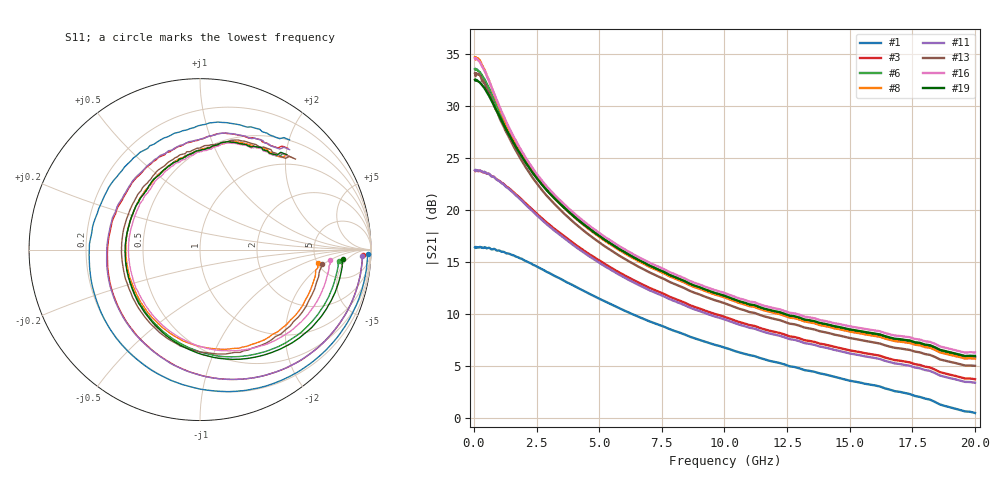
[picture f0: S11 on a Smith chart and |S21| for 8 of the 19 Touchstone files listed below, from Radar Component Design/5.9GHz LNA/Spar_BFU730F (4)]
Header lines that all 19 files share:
! Device data file deembeded for feedlines and parallel
! Feed-files: PR003V01_101208_Feed1.s2p, PR003V01_101208_Feed2.s2p
! Parallel-file: PR003V01_101208_Par.s2p
# MHz S MA R 50
!  Freq-MHz  S11-mag  S11-arg  S21-mag  S21-arg  S12-mag  S12-arg  S22-mag  S22-arg
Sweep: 40 MHz to 20 GHz
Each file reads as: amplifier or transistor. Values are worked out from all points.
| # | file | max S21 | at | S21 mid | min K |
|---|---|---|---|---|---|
| 1 | BFU730F_1p5V_2mA.s2p | 16.5 dB | 240 MHz | 12.4 dB at 4.2 GHz | -0.01 |
| 2 | BFU730F_1p5V_3.5mA.s2p | 21.0 dB | 50 MHz | 15.1 dB at 4.2 GHz | 0.00 |
| 3 | BFU730F_1p5V_5mA.s2p | 23.8 dB | 50 MHz | 16.4 dB at 4.2 GHz | -0.06 |
| 4 | BFU730F_1p5V_7p5mA.s2p | 26.9 dB | 50 MHz | 17.5 dB at 4.2 GHz | -0.01 |
| 5 | BFU730F_1p5V_15mA.s2p | 31.8 dB | 50 MHz | 18.7 dB at 4.2 GHz | -0.11 |
| 6 | BFU730F_1p5V_20mA.s2p | 33.6 dB | 50 MHz | 19.0 dB at 4.2 GHz | -0.02 |
| 7 | BFU730F_1p5V_25mA.s2p | 34.5 dB | 50 MHz | 19.0 dB at 4.2 GHz | -0.06 |
| 8 | BFU730F_1p5V_30mA.s2p | 34.7 dB | 50 MHz | 18.9 dB at 4.2 GHz | 0.06 |
| 9 | BFU730F_1V_1mA.s2p | 10.5 dB | 240 MHz | 7.9 dB at 4.2 GHz | -0.12 |
| 10 | BFU730F_1V_3p5mA.s2p | 21.0 dB | 50 MHz | 14.9 dB at 4.2 GHz | -0.01 |
| 11 | BFU730F_1V_5mA.s2p | 23.9 dB | 50 MHz | 16.2 dB at 4.2 GHz | 0.00 |
| 12 | BFU730F_1V_7p5mA.s2p | 27.0 dB | 50 MHz | 17.3 dB at 4.2 GHz | 0.01 |
| 13 | BFU730F_1V_25mA.s2p | 33.1 dB | 40 MHz | 18.4 dB at 4.2 GHz | 0.09 |
| 14 | BFU730F_1V_30mA.s2p | 32.8 dB | 40 MHz | 16.7 dB at 4.2 GHz | 0.28 |
| 15 | BFU730F_2p5V_2mA.s2p | 16.4 dB | 240 MHz | 12.6 dB at 4.2 GHz | 0.01 |
| 16 | BFU730F_2p5V_25mA.s2p | 34.6 dB | 50 MHz | 19.3 dB at 4.2 GHz | 0.07 |
| 17 | BFU730F_2V_1mA_S_N.s2p | 10.6 dB | 240 MHz | 8.1 dB at 4.2 GHz | -0.15 |
| 18 | BFU730F_2V_5mA_S_N.s2p | 23.7 dB | 50 MHz | 16.5 dB at 4.2 GHz | -0.01 |
| 19 | BFU730F_2V_17mA_S_N.s2p | 32.5 dB | 50 MHz | 19.0 dB at 4.2 GHz | -0.08 |
